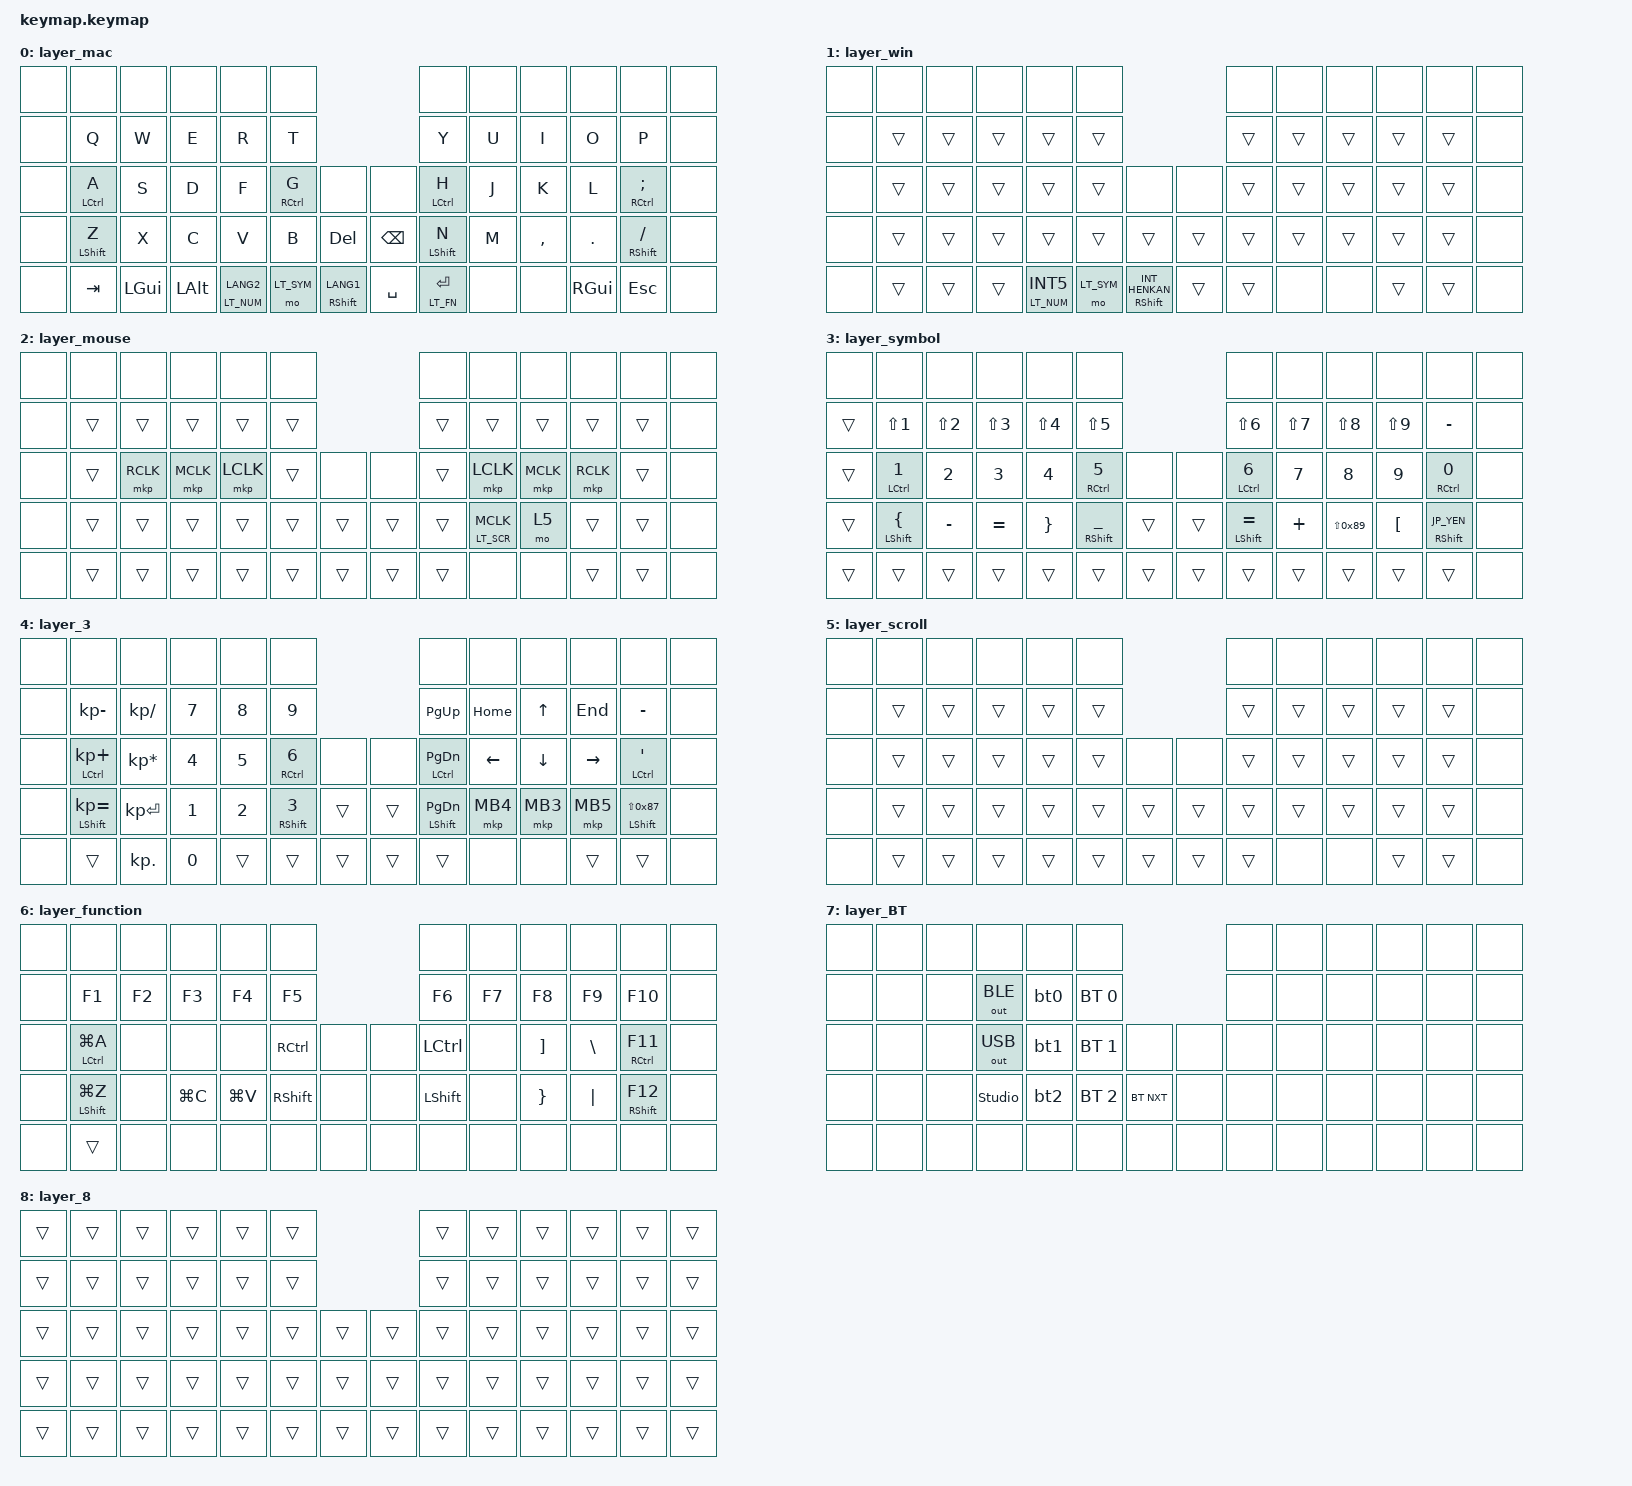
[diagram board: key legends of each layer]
#include <behaviors.dtsi>
#include <dt-bindings/zmk/bt.h>
#include <dt-bindings/zmk/keys.h>
#include <dt-bindings/zmk/outputs.h>
#include <dt-bindings/zmk/pointing.h>
#include <behaviors/runtime_macro.dtsi>

#define JP_DQUOTE       AT                // "
#define JP_AMPERSAND    CARET             // &
#define JP_QUOTE        AMPERSAND         // '
#define JP_EQUAL        UNDER             // =
#define JP_CARET        EQUAL             // ^
#define JP_YEN          0x89              // ¥
#define JP_PLUS         COLON             // +
#define JP_TILDE        PLUS              // ~
#define JP_PIPE         LS(0x89)          // |
#define JP_AT           LEFT_BRACKET      // @
#define JP_COLON        SINGLE_QUOTE      // :
#define JP_ASTERISK     DOUBLE_QUOTES     // *
#define JP_BACKQUOTE    LEFT_BRACE        // `
#define JP_UNDERSCORE   LS(0x87)          // _
#define JP_LBRACKET     RIGHT_BRACKET     // [
#define JP_RBRACKET     BACKSLASH         // ]
#define JP_LPAREN       ASTERISK          // (
#define JP_RPAREN       LEFT_PARENTHESIS  // )
#define JP_LBRACE       RIGHT_BRACE       // {
#define JP_RBRACE       PIPE              // }
#define JP_KANA         LANGUAGE_1        // かな
#define JP_EISU         LANGUAGE_2        // 英数
#define MAC_KANA        LANGUAGE_2        // かな
#define MAC_EISU        LANGUAGE_1        // 英数
#define JP_HANZEN       GRAVE             // 半角/全角
#define LT_MAC 0
#define LT_WIN 1
#define LT_MOUSE 2
#define LT_SYM 3
#define LT_FN 4
#define LT_SCR 5
#define LT_NUM 6
#define LT_BT 7

/ {
    /*
     * DYA Studio の Combo タブから編集できるコンボ。
     * ここに書いた内容は「初期値」で、書き込み直後から有効。
     * Web から変更するとその値が優先され、Reset で初期値に戻る。
     * (組み込みの zmk,combos は Web から見えないため移行した)
     */
    runtime_combo_defaults {
        compatible = "cormoran,runtime-combo-defaults";

        bt_clear {
            slot = <0>;
            display-name = "BT Clear";
            bindings = <&bt BT_CLR>;
            key-positions = <28 29>;
            layers = <LT_MOUSE>;
        };

        mouse_L {
            slot = <1>;
            display-name = "Mouse L";
            bindings = <&mkp LCLK>;
            key-positions = <28 29>;
            layers = <0 1>;
            require-prior-idle-ms = <200>;
        };

        mouse_R {
            slot = <2>;
            display-name = "Mouse R";
            bindings = <&mkp RCLK>;
            key-positions = <17 18>;
            layers = <0 1>;
            require-prior-idle-ms = <200>;
        };

        scroll {
            slot = <3>;
            display-name = "Scroll";
            bindings = <&lt_mkp LT_SCR MCLK>;
            key-positions = <28 17>;
            layers = <0 1>;
            require-prior-idle-ms = <200>;
        };

        mouse_M {
            slot = <4>;
            display-name = "Mouse M";
            bindings = <&mkp MCLK>;
            key-positions = <29 30>;
            layers = <0 1>;
            require-prior-idle-ms = <200>;
        };

        key_esc {
            slot = <5>;
            display-name = "Esc";
            bindings = <&kp ESC>;
            key-positions = <0 1>;
            layers = <0 1>;
        };

        key_tab {
            slot = <6>;
            display-name = "Tab";
            bindings = <&kp TAB>;
            key-positions = <1 2>;
        };

        key_MINUS {
            slot = <7>;
            display-name = "Minus";
            bindings = <&kp MINUS>;
            key-positions = <8 9>;
            layers = <0 1>;
        };

        bt {
            slot = <8>;
            display-name = "BT Layer";
            bindings = <&mo LT_BT>;
            key-positions = <36 39>;
            layers = <0 1>;
        };
    };

    behaviors {
        tog_on: toggle_layer_on_only {
            compatible = "zmk,behavior-toggle-layer";
            #binding-cells = <1>;
            display-name = "Toggle Layer On";
            toggle-mode = "on";
        };

        tog_off: toggle_layer_off_only {
            compatible = "zmk,behavior-toggle-layer";
            #binding-cells = <1>;
            display-name = "Toggle Layer Off";
            toggle-mode = "off";
        };

        mt1: mod_tap {
            compatible = "zmk,behavior-hold-tap";
            #binding-cells = <2>;
            flavor = "balanced";
            tapping-term-ms = <280>;
            require-prior-idle-ms = <150>;
            bindings = <&kp>, <&kp>;

            display-name = "Mod-Tap";
        };

        mt_z: mod_tap_z {
            compatible = "zmk,behavior-hold-tap";
            #binding-cells = <2>;
            flavor = "tap-preferred";
            tapping-term-ms = <200>;
            require-prior-idle-ms = <150>;
            bindings = <&kp>, <&kp>;

            display-name = "Mod-Tap-Z";
        };

        lt_mkp: mod_tap_mouse {
            compatible = "zmk,behavior-hold-tap";
            #binding-cells = <2>;
            flavor = "balanced";
            tapping-term-ms = <280>;
            bindings = <&mo>, <&mkp>;

            display-name = "Mod-Tap-Mouse-Layer";
        };

        lt1: layer_tap {
            compatible = "zmk,behavior-hold-tap";
            #binding-cells = <2>;
            flavor = "hold-preferred";
            tapping-term-ms = <200>;
            bindings = <&mo>, <&kp>;

            display-name = "Layer-Tap";
        };
    };

    macros {
        bt0: bt0 {
            compatible = "zmk,behavior-macro";
            #binding-cells = <0>;
            bindings =
                <&tog_off 1>,
                <&macro_wait_time 200>,
                <&bt BT_SEL 0>,
                <&macro_wait_time 500>,
                <&macro_press>;

            label = "BT0";
        };

        bt1: bt1 {
            compatible = "zmk,behavior-macro";
            #binding-cells = <0>;
            bindings =
                <&tog_off 0>,
                <&macro_wait_time 200>,
                <&bt BT_SEL 1>,
                <&macro_wait_time 500>,
                <&tog_on 1>;

            label = "BT1";
        };

        bt2: bt2 {
            compatible = "zmk,behavior-macro";
            #binding-cells = <0>;
            bindings =
                <&tog_off 0>,
                <&macro_wait_time 200>,
                <&bt BT_SEL 2>,
                <&macro_wait_time 500>,
                <&tog_on 1>;

            label = "BT2";
        };
    };

    keymap {
        compatible = "zmk,keymap";

        layer_mac {
            bindings = <
&none  &none          &none     &none     &none             &none                                      &none            &none  &none      &none     &none             &none
&none  &kp Q          &kp W     &kp E     &kp R             &kp T                                      &kp Y            &kp U  &kp I      &kp O     &kp P             &none
&none  &mt1 LCTRL A   &kp S     &kp D     &kp F             &mt1 RCTRL G  &none             &none      &mt1 LCTRL H     &kp J  &kp K      &kp L     &mt1 RCTRL SEMI   &none
&none  &mt_z LSHIFT Z  &kp X     &kp C     &kp V             &kp B         &kp DEL           &kp BSPC   &mt1 LSHIFT N    &kp M  &kp COMMA  &kp DOT   &mt1 RSHIFT FSLH  &none
&none  &kp TAB        &kp LGUI  &kp LALT  &lt LT_NUM LANG2  &mo LT_SYM    &mt1 RSHFT LANG1  &kp SPACE  &lt1 LT_FN ENTER  &none  &none      &kp RGUI  &kp ESC           &none
            >;
        };

        layer_win {
            bindings = <
&none  &none   &none   &none   &none            &none                                       &none   &none   &none   &none   &none   &none
&none  &trans  &trans  &trans  &trans           &trans                                      &trans  &trans  &trans  &trans  &trans  &none
&none  &trans  &trans  &trans  &trans           &trans      &none                   &none   &trans  &trans  &trans  &trans  &trans  &none
&none  &trans  &trans  &trans  &trans           &trans      &trans                  &trans  &trans  &trans  &trans  &trans  &trans  &none
&none  &trans  &trans  &trans  &lt LT_NUM INT5  &mo LT_SYM  &mt1 RSHIFT INT_HENKAN  &trans  &trans  &none   &none   &trans  &trans  &none
            >;
        };

        layer_mouse {
            bindings = <
&none  &none   &none      &none      &none      &none                   &none   &none                &none      &none      &none   &none
&none  &trans  &trans     &trans     &trans     &trans                  &trans  &trans               &trans     &trans     &trans  &none
&none  &trans  &mkp RCLK  &mkp MCLK  &mkp LCLK  &trans  &none   &none   &trans  &mkp LCLK            &mkp MCLK  &mkp RCLK  &trans  &none
&none  &trans  &trans     &trans     &trans     &trans  &trans  &trans  &trans  &lt_mkp LT_SCR MCLK  &mo 5      &trans     &trans  &none
&none  &trans  &trans     &trans     &trans     &trans  &trans  &trans  &trans  &none                &none      &trans     &trans  &none
            >;
        };

        layer_symbol {
            bindings = <
&none   &none                       &none       &none       &none            &none                                  &none                   &none           &none       &none       &none               &none
&trans  &kp LS(N1)                  &kp LS(N2)  &kp LS(N3)  &kp LS(N4)       &kp LS(N5)                             &kp LS(N6)              &kp LS(N7)      &kp LS(N8)  &kp LS(N9)  &kp MINUS           &none
&trans  &mt1 LCTRL N1               &kp N2      &kp N3      &kp N4           &mt1 RCTRL N5          &none   &none   &mt1 LCTRL N6           &kp N7          &kp N8      &kp N9      &mt1 RCTRL N0       &none
&trans  &mt1 LSHIFT JP_BACKQUOTE    &kp MINUS   &kp EQUAL   &kp RIGHT_BRACE  &mt1 RSHIFT JP_EQUAL   &trans  &trans  &mt1 LSHIFT JP_CARET    &kp JP_TILDE    &kp JP_PIPE &kp JP_AT   &mt1 RSHIFT JP_YEN  &none
&trans  &trans                      &trans      &trans      &trans           &trans                 &trans  &trans  &trans                  &trans          &trans      &trans      &trans              &none
            >;
        };

        layer_3 {
            bindings = <
&none  &none                 &none              &none   &none   &none                           &none              &none     &none     &none      &none                      &none
&none  &kp KP_MINUS          &kp KP_DIVIDE      &kp N7  &kp N8  &kp N9                          &kp PG_UP          &kp HOME  &kp UP    &kp END    &kp MINUS                  &none
&none  &mt1 LCTRL KP_PLUS    &kp KP_MULTIPLY    &kp N4  &kp N5  &mt1 RCTRL N6   &none   &none   &mt1 LCTRL PG_DN   &kp LEFT  &kp DOWN  &kp RIGHT  &mt1 LCTRL SINGLE_QUOTE    &none
&none  &mt1 LSHIFT KP_EQUAL  &kp KP_ENTER       &kp N1  &kp N2  &mt1 RSHIFT N3  &trans  &trans  &mt1 LSHIFT PG_DN  &mkp MB4  &mkp MB3  &mkp MB5   &mt1 LSHIFT JP_UNDERSCORE  &none
&none  &trans                &kp KP_DOT         &kp N0  &trans  &trans          &trans  &trans  &trans             &none     &none     &trans     &trans                     &none
            >;
        };

        layer_scroll {
            bindings = <
&none  &none   &none   &none   &none   &none                   &none   &none   &none   &none   &none   &none
&none  &trans  &trans  &trans  &trans  &trans                  &trans  &trans  &trans  &trans  &trans  &none
&none  &trans  &trans  &trans  &trans  &trans  &none   &none   &trans  &trans  &trans  &trans  &trans  &none
&none  &trans  &trans  &trans  &trans  &trans  &trans  &trans  &trans  &trans  &trans  &trans  &trans  &none
&none  &trans  &trans  &trans  &trans  &trans  &trans  &trans  &trans  &none   &none   &trans  &trans  &none
            >;
        };

        layer_function {
            bindings = <
&none  &none              &none   &none      &none      &none                     &none       &none   &none            &none            &none            &none
&none  &kp F1             &kp F2  &kp F3     &kp F4     &kp F5                    &kp F6      &kp F7  &kp F8           &kp F9           &kp F10          &none
&none  &mt1 LCTRL LG(A)   &none   &none      &none      &kp RCTRL   &none  &none  &kp LCTRL   &none   &kp JP_LBRACKET  &kp JP_RBRACKET  &mt1 RCTRL F11   &none
&none  &mt1 LSHIFT LG(Z)  &none   &kp LG(C)  &kp LG(V)  &kp RSHIFT  &none  &none  &kp LSHIFT  &none   &kp JP_LBRACE    &kp JP_RBRACE    &mt1 RSHIFT F12  &none
&none  &trans             &none   &none      &none      &none       &none  &none  &none       &none   &none            &none            &none            &none
            >;
        };

        layer_BT {
            bindings = <
&none  &none  &none  &none           &none  &none                            &none  &none  &none  &none  &none  &none
&none  &none  &none  &out OUT_BLE    &bt0   &bt BT_SEL 0                     &none  &none  &none  &none  &none  &none
&none  &none  &none  &out OUT_USB    &bt1   &bt BT_SEL 1  &none       &none  &none  &none  &none  &none  &none  &none
&none  &none  &none  &studio_unlock  &bt2   &bt BT_SEL 2  &bt BT_NXT  &none  &none  &none  &none  &none  &none  &none
&none  &none  &none  &none           &none  &none         &none       &none  &none  &none  &none  &none  &none  &none
            >;
        };

        layer_8 {
            bindings = <
&trans  &trans  &trans  &trans  &trans  &trans                  &trans  &trans  &trans  &trans  &trans  &trans
&trans  &trans  &trans  &trans  &trans  &trans                  &trans  &trans  &trans  &trans  &trans  &trans
&trans  &trans  &trans  &trans  &trans  &trans  &trans  &trans  &trans  &trans  &trans  &trans  &trans  &trans
&trans  &trans  &trans  &trans  &trans  &trans  &trans  &trans  &trans  &trans  &trans  &trans  &trans  &trans
&trans  &trans  &trans  &trans  &trans  &trans  &trans  &trans  &trans  &trans  &trans  &trans  &trans  &trans
            >;
        };
    };
};
